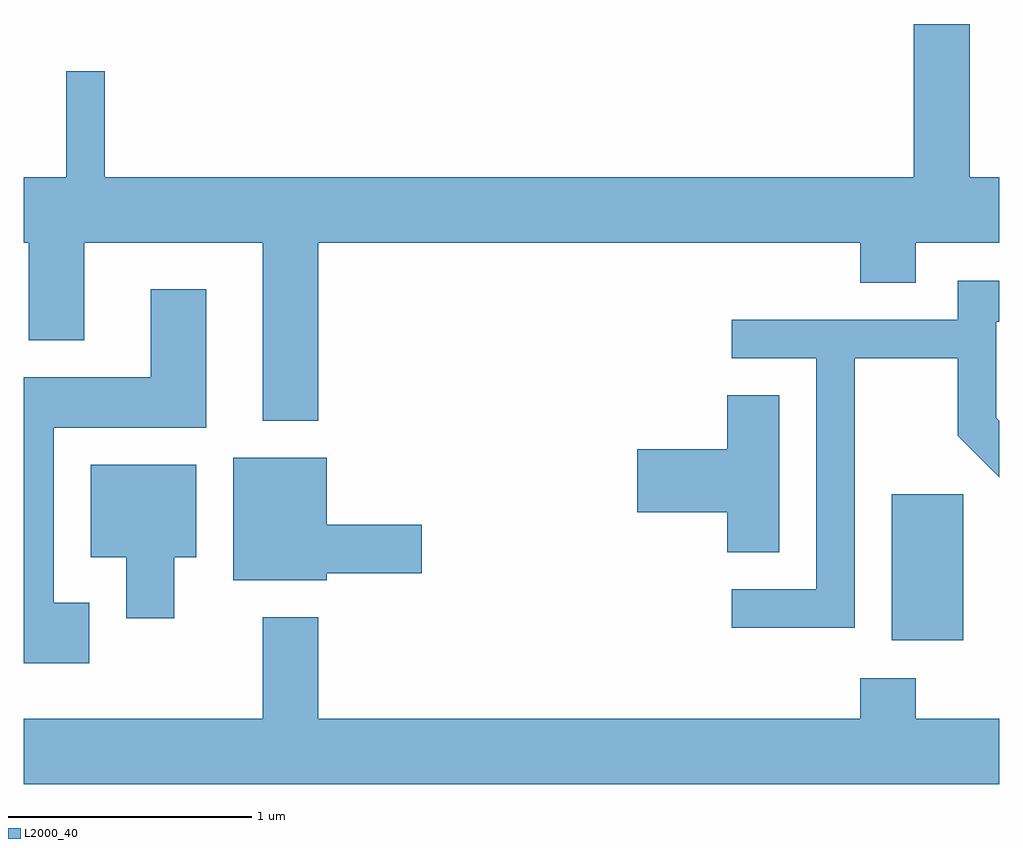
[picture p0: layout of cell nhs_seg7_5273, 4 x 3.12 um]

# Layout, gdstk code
import gdstk
lib = gdstk.Library(unit=1e-6, precision=1e-09)
def R(c, l, rs):  # rectangles x0, y0, x1, y1
    for r in rs: c.add(gdstk.rectangle(r[:2], r[2:], *l))
def P(c, l, *ps):  # polygons
    for p in ps: c.add(gdstk.Polygon(p, *l))
L2000_40 = (2000, 40)

nhs_seg7_5273 = lib.new_cell('nhs_seg7_5273')
R(nhs_seg7_5273, L2000_40, [(349.171,1783.726,349.464,1784.324)])
P(nhs_seg7_5273, L2000_40, [(346.819,1785.356),(349.041,1785.356),(349.041,1785.191),(349.269,1785.191),(349.269,1785.356),(349.611,1785.356),(349.611,1785.624),(349.489,1785.624),(349.489,1786.252),(349.261,1786.252),(349.261,1785.624),(345.944,1785.624),(345.944,1786.058),(345.786,1786.058),(345.786,1785.624),(345.611,1785.624),(345.611,1785.356),(345.631,1785.356),(345.631,1784.956),(345.859,1784.956),(345.859,1785.356),(346.591,1785.356),(346.591,1784.626),(346.819,1784.626)],
  [(349.019,1784.881),(349.441,1784.881),(349.441,1784.564),(349.611,1784.394),(349.611,1784.625),(349.599,1784.637),(349.599,1785.031),(349.611,1785.031),(349.611,1785.199),(349.441,1785.199),(349.441,1785.039),(348.513,1785.039),(348.513,1784.881),(348.861,1784.881),(348.861,1783.934),(348.513,1783.934),(348.513,1783.776),(349.019,1783.776)],
  [(345.879,1783.879),(345.734,1783.879),(345.734,1784.596),(346.359,1784.596),(346.359,1785.164),(346.131,1785.164),(346.131,1784.804),(345.611,1784.804),(345.611,1783.631),(345.879,1783.631)],
  [(348.709,1784.729),(348.496,1784.729),(348.496,1784.509),(348.126,1784.509),(348.126,1784.251),(348.496,1784.251),(348.496,1784.086),(348.709,1784.086)],
  [(346.854,1784.001),(347.244,1784.001),(347.244,1784.199),(346.854,1784.199),(346.854,1784.474),(346.471,1784.474),(346.471,1783.971),(346.854,1783.971)],
  [(346.229,1784.066),(346.319,1784.066),(346.319,1784.444),(345.886,1784.444),(345.886,1784.066),(346.031,1784.066),(346.031,1783.816),(346.229,1783.816)],
  [(349.611,1783.404),(349.269,1783.404),(349.269,1783.569),(349.041,1783.569),(349.041,1783.404),(346.819,1783.404),(346.819,1783.819),(346.591,1783.819),(346.591,1783.404),(345.611,1783.404),(345.611,1783.136),(349.611,1783.136)])

lib.write_gds('nhs_seg7_5273.gds')
